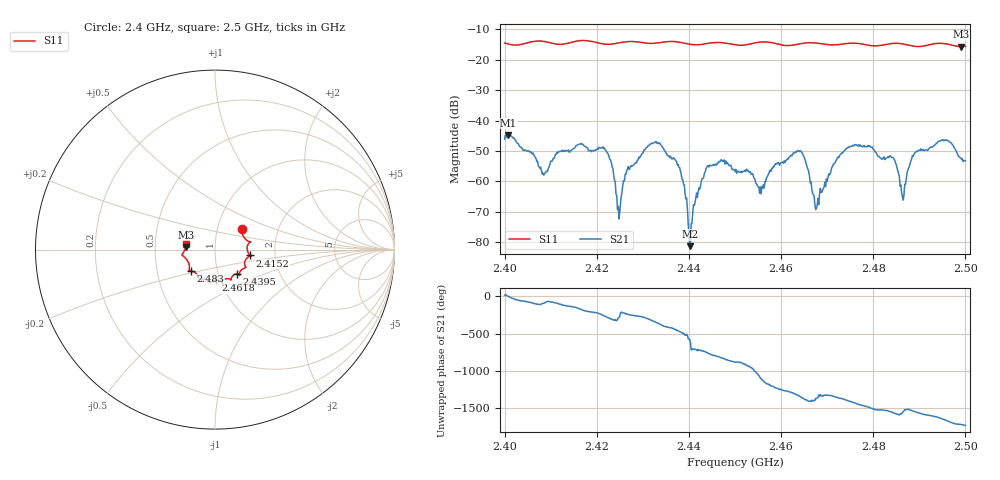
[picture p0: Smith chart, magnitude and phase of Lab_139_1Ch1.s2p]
# Hz S RI R 50
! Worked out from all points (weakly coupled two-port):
!   601 points, 2.4 GHz to 2.5 GHz, reference 50 ohm
!   highest |S21| = -44.72 dB at 2.4008 GHz (marker M1); lowest = -81.2 dB at 2.4402 GHz (marker M2)
!   lowest |S11| = -15.7 dB at 2.499 GHz (marker M3), VSWR 1.39, Z = 35.9 + j1.11 ohm
!   |S11| at or under -10 dB: start of sweep to end of sweep
!   S12 and S22 are empty: the file has one direction only
!   S11 on the Smith chart (normalised r, x): 2.4 GHz: 1.31, +0.31; 2.4152 GHz: 1.48, -0.10; 2.4395 GHz: 1.23, -0.34; 2.4618 GHz: 0.95, -0.33; 2.483 GHz: 0.74, -0.18; 2.5 GHz: 0.72, +0.05
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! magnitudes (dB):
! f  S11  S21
! 2.4 GHz  -14.5  -46.1
! 2.4008 GHz  -14.8  -44.7
! 2.4085 GHz  -14.0  -57.9
! 2.4152 GHz  -14.0  -49.0
! 2.4167 GHz  -13.7  -47.5
! 2.4222 GHz  -14.9  -50.2
! 2.4248 GHz  -14.5  -72.3
! 2.4333 GHz  -14.4  -47.6
! 2.4395 GHz  -14.7  -65.5
! 2.4402 GHz  -14.9  -81.2
! 2.4442 GHz  -14.6  -54.7
! 2.45 GHz  -15.1  -56.6
! 2.4558 GHz  -14.2  -61.8
! 2.4618 GHz  -15.3  -52.0
! 2.4667 GHz  -14.4  -62.5
! 2.475 GHz  -14.6  -48.5
! 2.483 GHz  -14.9  -52.2
! 2.4833 GHz  -14.8  -52.2
! 2.4863 GHz  -14.8  -64.9
! 2.4898 GHz  -15.7  -49.8
! 2.499 GHz  -15.7  -52.2
! 2.5 GHz  -15.6  -53.2
